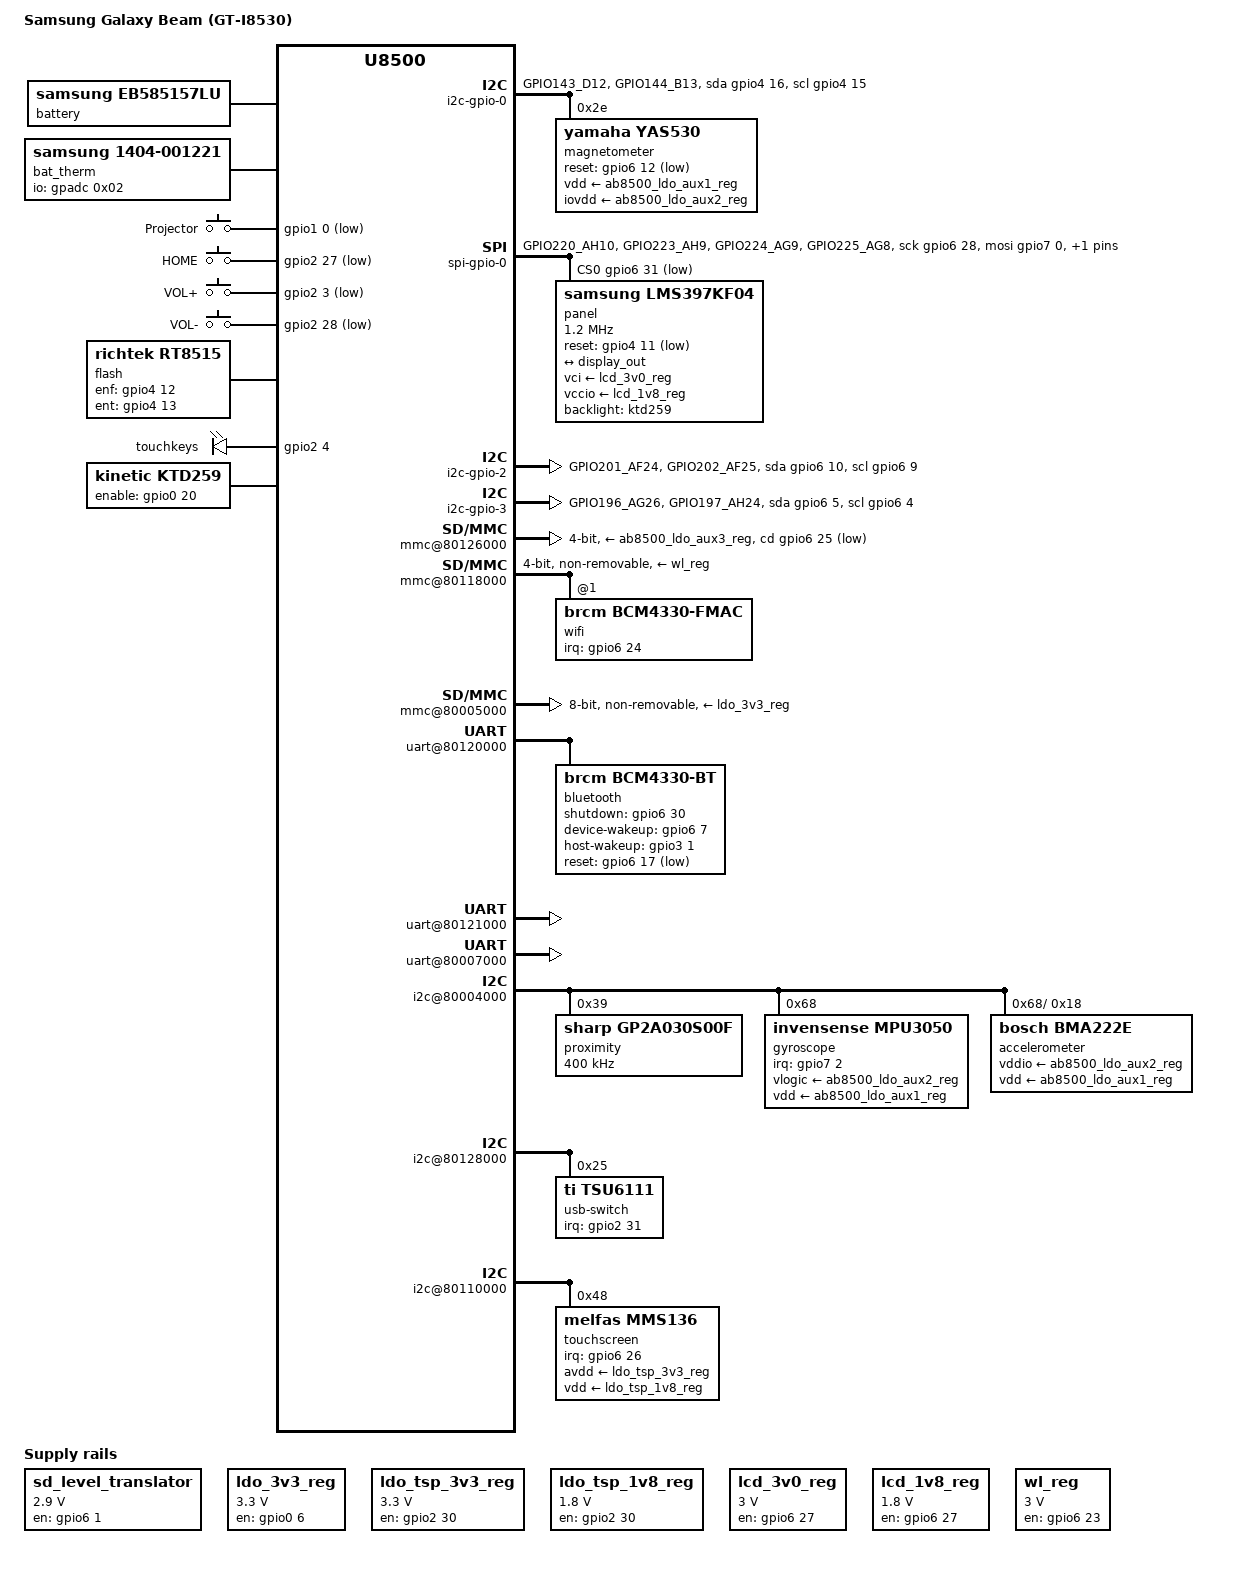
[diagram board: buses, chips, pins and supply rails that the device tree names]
// SPDX-License-Identifier: GPL-2.0-only
/*
 * Devicetree for the Samsung Galaxy Beam GT-I8530 also known as Gavini.
 */

/dts-v1/;
#include "ste-db8500.dtsi"
#include "ste-ab8500.dtsi"
#include "ste-dbx5x0-pinctrl.dtsi"
#include <dt-bindings/gpio/gpio.h>
#include <dt-bindings/leds/common.h>
#include <dt-bindings/input/input.h>
#include <dt-bindings/interrupt-controller/irq.h>

/ {
	model = "Samsung Galaxy Beam (GT-I8530)";
	compatible = "samsung,gavini", "st-ericsson,u8500";

	chosen {
		stdout-path = &serial2;
	};

	battery: battery {
		compatible = "samsung,eb585157lu";
	};

	thermal-zones {
		battery-thermal {
			/* This zone will be polled by the battery temperature code */
			polling-delay = <0>;
			polling-delay-passive = <0>;
			thermal-sensors = <&bat_therm>;
		};
	};

	bat_therm: thermistor {
		compatible = "samsung,1404-001221";
		io-channels = <&gpadc 0x02>; /* BatTemp */
		pullup-uv = <1800000>;
		pullup-ohm = <230000>;
		pulldown-ohm = <0>;
		#thermal-sensor-cells = <0>;
	};

	/* TI TXS0206 level translator for 2.9 V */
	sd_level_translator: regulator-gpio {
		compatible = "regulator-fixed";

		/* GPIO193 EN */
		gpios = <&gpio6 1 GPIO_ACTIVE_HIGH>;
		enable-active-high;

		regulator-name = "sd-level-translator";
		regulator-min-microvolt = <2900000>;
		regulator-max-microvolt = <2900000>;
		regulator-type = "voltage";

		startup-delay-us = <200>;

		pinctrl-names = "default";
		pinctrl-0 = <&sd_level_translator_default>;
	};

	/* External LDO for eMMC LDO VMEM_3V3 controlled by GPIO6 */
	ldo_3v3_reg: regulator-gpio-ldo-3v3 {
		compatible = "regulator-fixed";
		/* Supplied in turn by VBAT */
		regulator-name = "VMEM_3V3";
		regulator-min-microvolt = <3300000>;
		regulator-max-microvolt = <3300000>;
		gpio = <&gpio0 6 GPIO_ACTIVE_HIGH>;
		startup-delay-us = <5000>; // FIXME
		enable-active-high;
		pinctrl-names = "default";
		pinctrl-0 = <&emmc_ldo_en_default_mode>;
	};

	/*
	 * External Ricoh "TSP" regulator for the touchscreen.
	 * One GPIO line controls two voltages of 3.3V and 1.8V
	 * this line is known as "TSP_LDO_ON1" in the schematics.
	 */
	ldo_tsp_3v3_reg: regulator-gpio-tsp-ldo-3v3 {
		compatible = "regulator-fixed";
		/* Supplied in turn by VBAT */
		regulator-name = "LDO_TSP_A3V3";
		regulator-min-microvolt = <3300000>;
		regulator-max-microvolt = <3300000>;
		/* GPIO94 controls this regulator */
		gpio = <&gpio2 30 GPIO_ACTIVE_HIGH>;
		/* 70 ms power-on delay */
		startup-delay-us = <70000>;
		enable-active-high;
		pinctrl-names = "default";
		pinctrl-0 = <&tsp_ldo_en_default_mode>;
	};
	ldo_tsp_1v8_reg: regulator-gpio-tsp-ldo-1v8 {
		compatible = "regulator-fixed";
		/* Supplied in turn by VBAT */
		regulator-name = "VREG_TSP_1V8";
		regulator-min-microvolt = <1800000>;
		regulator-max-microvolt = <1800000>;
		/* GPIO94 controls this regulator */
		gpio = <&gpio2 30 GPIO_ACTIVE_HIGH>;
		/* 70 ms power-on delay */
		startup-delay-us = <70000>;
		enable-active-high;
		pinctrl-names = "default";
		pinctrl-0 = <&tsp_ldo_en_default_mode>;
	};

	/*
	 * External Ricoh RP152L010B-TR LCD LDO regulator for the display.
	 * LCD_PWR_EN controls both a 3.0V and 1.8V output.
	 */
	lcd_3v0_reg: regulator-gpio-lcd-3v0 {
		compatible = "regulator-fixed";
		/* Supplied in turn by VBAT */
		regulator-name = "VREG_LCD_3V0";
		regulator-min-microvolt = <3000000>;
		regulator-max-microvolt = <3000000>;
		/* GPIO219 controls this regulator */
		gpio = <&gpio6 27 GPIO_ACTIVE_HIGH>;
		enable-active-high;
		pinctrl-names = "default";
		pinctrl-0 = <&lcd_pwr_en_default_mode>;
	};
	lcd_1v8_reg: regulator-gpio-lcd-1v8 {
		compatible = "regulator-fixed";
		/* Supplied in turn by VBAT */
		regulator-name = "VREG_LCD_1V8";
		regulator-min-microvolt = <1800000>;
		regulator-max-microvolt = <1800000>;
		/* GPIO219 controls this regulator too */
		gpio = <&gpio6 27 GPIO_ACTIVE_HIGH>;
		enable-active-high;
		pinctrl-names = "default";
		pinctrl-0 = <&lcd_pwr_en_default_mode>;
	};

	/*
	 * This regulator is a GPIO line that drives the Broadcom WLAN
	 * line WL_REG_ON high and enables the internal regulators
	 * inside the chip. Unfortunatley it is erroneously named
	 * WLAN_RST_N on the schematic but it is not a reset line.
	 *
	 * The voltage specified here is only used to determine the OCR mask,
	 * the for the SDIO connector, the chip is actually connected
	 * directly to VBAT.
	 */
	wl_reg: regulator-gpio-wlan {
		compatible = "regulator-fixed";
		regulator-name = "WL_REG_ON";
		regulator-min-microvolt = <3000000>;
		regulator-max-microvolt = <3000000>;
		startup-delay-us = <100000>;
		/* GPIO215 (WLAN_RST_N to WL_REG_ON) */
		gpio = <&gpio6 23 GPIO_ACTIVE_HIGH>;
		enable-active-high;
		pinctrl-names = "default";
		pinctrl-0 = <&wlan_ldo_en_default>;
	};

	gpio-keys {
		compatible = "gpio-keys";
		pinctrl-names = "default";
		pinctrl-0 = <&gpio_keys_default_mode>;

		button-projector {
			linux,code = <KEY_SWITCHVIDEOMODE>;
			label = "Projector";
			/* GPIO32 "Projector On HotKey" */
			gpios = <&gpio1 0 GPIO_ACTIVE_LOW>;
		};
		button-home {
			linux,code = <KEY_HOME>;
			label = "HOME";
			/* GPIO91 */
			gpios = <&gpio2 27 GPIO_ACTIVE_LOW>;
		};
		button-volup {
			linux,code = <KEY_VOLUMEUP>;
			label = "VOL+";
			/* GPIO67 */
			gpios = <&gpio2 3 GPIO_ACTIVE_LOW>;
		};
		button-voldown {
			linux,code = <KEY_VOLUMEDOWN>;
			label = "VOL-";
			/* GPIO92 */
			gpios = <&gpio2 28 GPIO_ACTIVE_LOW>;
		};
	};

	/* Richtek RT8515GQW Flash LED Driver IC */
	flash {
		compatible = "richtek,rt8515";
		/* GPIO 140 */
		enf-gpios = <&gpio4 12 GPIO_ACTIVE_HIGH>;
		/* GPIO 141 */
		ent-gpios = <&gpio4 13 GPIO_ACTIVE_HIGH>;
		/*
		 * RFS is 16 kOhm and RTS is 100 kOhm giving
		 * the flash max current 343mA and torch max
		 * current 55 mA.
		 */
		richtek,rfs-ohms = <16000>;
		richtek,rts-ohms = <100000>;
		pinctrl-names = "default";
		pinctrl-0 = <&gpio_flash_default_mode>;

		led {
			function = LED_FUNCTION_FLASH;
			color = <LED_COLOR_ID_WHITE>;
			flash-max-timeout-us = <250000>;
			flash-max-microamp = <343750>;
			led-max-microamp = <55000>;
		};
	};

	gpio-leds {
		compatible = "gpio-leds";
		pinctrl-names = "default";
		pinctrl-0 = <&gpio_leds_default_mode>;
		used-led {
			label = "touchkeys";
			/* GPIO68 */
			gpios = <&gpio2 4 GPIO_ACTIVE_HIGH>;
			default-state = "on";
		};
	};

	ktd259: backlight {
		compatible = "kinetic,ktd259";
		/* GPIO20 */
		enable-gpios = <&gpio0 20 GPIO_ACTIVE_HIGH>;
		/* Default to 13/32 brightness */
		default-brightness = <13>;
		pinctrl-names = "default";
		pinctrl-0 = <&ktd259_backlight_default_mode>;
	};

	/* Bit-banged I2C on GPIO143 and GPIO144 also called "SUBPMU I2C" */
	i2c-gpio-0 {
		compatible = "i2c-gpio";
		sda-gpios = <&gpio4 16 (GPIO_ACTIVE_HIGH|GPIO_OPEN_DRAIN)>;
		scl-gpios = <&gpio4 15 (GPIO_ACTIVE_HIGH|GPIO_OPEN_DRAIN)>;
		pinctrl-names = "default";
		pinctrl-0 = <&i2c_gpio_0_default>;
		#address-cells = <1>;
		#size-cells = <0>;

		/* Yamaha YAS530 magnetometer */
		magnetometer@2e {
			compatible = "yamaha,yas530";
			reg = <0x2e>;
			/* VDD 3V */
			vdd-supply = <&ab8500_ldo_aux1_reg>;
			/* IOVDD 1.8V */
			iovdd-supply = <&ab8500_ldo_aux2_reg>;
			/* GPIO204 COMPASS_RST_N */
			reset-gpios = <&gpio6 12 GPIO_ACTIVE_LOW>;
			pinctrl-names = "default";
			pinctrl-0 = <&yas530_default>;
		};
		/* TODO: this should also be used by the NCP6914 Camera power management unit */
	};

	/*
	 * TODO: See if we can use the PL023 for this instead.
	 */
	spi-gpio-0 {
		compatible = "spi-gpio";
		/* Clock on GPIO220, pin SCL */
		sck-gpios = <&gpio6 28 GPIO_ACTIVE_HIGH>;
		/* MOSI on GPIO224, pin SDI "slave data in" */
		mosi-gpios = <&gpio7 0 GPIO_ACTIVE_HIGH>;
		/* MISO on GPIO225, pin SDO "slave data out" */
		miso-gpios = <&gpio7 1 GPIO_ACTIVE_HIGH>;
		/* Chip select on GPIO223 */
		cs-gpios = <&gpio6 31 GPIO_ACTIVE_LOW>;
		num-chipselects = <1>;

		pinctrl-names = "default";
		pinctrl-0 = <&spi_gpio_0_default>;
		#address-cells = <1>;
		#size-cells = <0>;

		panel@0 {
			compatible = "samsung,lms397kf04";
			/* 300 ns at read cycle -> 3 MHz max speed */
			//spi-max-frequency = <3000000>;
			spi-max-frequency = <1200000>;
			/* TYPE 3: inverse clock polarity and phase */
			spi-cpha;
			spi-cpol;

			reg = <0>;
			vci-supply = <&lcd_3v0_reg>;
			vccio-supply = <&lcd_1v8_reg>;
			/* Reset on GPIO139 */
			reset-gpios = <&gpio4 11 GPIO_ACTIVE_LOW>;
			pinctrl-names = "default";
			pinctrl-0 = <&panel_default_mode>;
			backlight = <&ktd259>;

			port {
				panel_in: endpoint {
					remote-endpoint = <&display_out>;
				};
			};
		};
	};

	/* Bit-banged I2C on GPIO201 and GPIO202 also called "MOT_I2C" */
	i2c-gpio-2 {
		compatible = "i2c-gpio";
		sda-gpios = <&gpio6 10 (GPIO_ACTIVE_HIGH|GPIO_OPEN_DRAIN)>;
		scl-gpios = <&gpio6 9 (GPIO_ACTIVE_HIGH|GPIO_OPEN_DRAIN)>;
		pinctrl-names = "default";
		pinctrl-0 = <&i2c_gpio_2_default>;
		#address-cells = <1>;
		#size-cells = <0>;
		/* TODO: add the Immersion ISA1200 I2C device here */
	};

	/* Bit-banged I2C on GPIO196 and GPIO197 also called "MPR_I2C" */
	i2c-gpio-3 {
		compatible = "i2c-gpio";
		sda-gpios = <&gpio6 5 (GPIO_ACTIVE_HIGH|GPIO_OPEN_DRAIN)>;
		scl-gpios = <&gpio6 4 (GPIO_ACTIVE_HIGH|GPIO_OPEN_DRAIN)>;
		pinctrl-names = "default";
		pinctrl-0 = <&i2c_gpio_3_default>;
		#address-cells = <1>;
		#size-cells = <0>;
		/* TODO: add the DPP2601 projector I2C device 0x1b here */
	};

	soc {
		/* External Micro SD slot */
		mmc@80126000 {
			arm,primecell-periphid = <0x10480180>;
			max-frequency = <50000000>;
			bus-width = <4>;
			cap-sd-highspeed;
			cap-mmc-highspeed;
			st,sig-pin-fbclk;
			full-pwr-cycle;
			/* MMC is powered by AUX3 1.2V .. 2.91V */
			vmmc-supply = <&ab8500_ldo_aux3_reg>;
			/* 2.9 V level translator */
			vqmmc-supply = <&sd_level_translator>;
			pinctrl-names = "default", "sleep";
			pinctrl-0 = <&mc0_a_2_default>;
			pinctrl-1 = <&mc0_a_2_sleep>;
			/* "flash detect" actually card detect */
			cd-gpios  = <&gpio6 25 GPIO_ACTIVE_LOW>;
			status = "okay";
		};

		/* WLAN SDIO channel */
		mmc@80118000 {
			arm,primecell-periphid = <0x10480180>;
			max-frequency = <50000000>;
			bus-width = <4>;
			non-removable;
			cap-sd-highspeed;
			pinctrl-names = "default", "sleep";
			pinctrl-0 = <&mc1_a_2_default>;
			pinctrl-1 = <&mc1_a_2_sleep>;
			/*
			 * GPIO-controlled voltage enablement: this drives
			 * the WL_REG_ON line high when we use this device.
			 * Represented as regulator to fill OCR mask.
			 */
			vmmc-supply = <&wl_reg>;

			#address-cells = <1>;
			#size-cells = <0>;
			status = "okay";

			wifi@1 {
				compatible = "brcm,bcm4330-fmac", "brcm,bcm4329-fmac";
				reg = <1>;
				/* GPIO216 WL_HOST_WAKE */
				interrupt-parent = <&gpio6>;
				interrupts = <24 IRQ_TYPE_EDGE_FALLING>;
				interrupt-names = "host-wake";
				pinctrl-names = "default";
				pinctrl-0 = <&wlan_default_mode>;
			};
		};

		/* eMMC */
		mmc@80005000 {
			arm,primecell-periphid = <0x10480180>;
		        max-frequency = <50000000>;
			bus-width = <8>;
			non-removable;
			cap-mmc-highspeed;
			mmc-ddr-1_8v;
			no-sdio;
			no-sd;
			vmmc-supply = <&ldo_3v3_reg>;
			pinctrl-names = "default", "sleep";
			pinctrl-0 = <&mc2_a_1_default>;
			pinctrl-1 = <&mc2_a_1_sleep>;
			status = "okay";
		};

		/* GBF (Bluetooth) UART */
		uart@80120000 {
			pinctrl-names = "default", "sleep";
			pinctrl-0 = <&u0_a_1_default>;
			pinctrl-1 = <&u0_a_1_sleep>;
			status = "okay";

			bluetooth {
				compatible = "brcm,bcm4330-bt";
				/* GPIO222 rail BT_VREG_EN to BT_REG_ON */
				shutdown-gpios = <&gpio6 30 GPIO_ACTIVE_HIGH>;
				/* BT_WAKE on GPIO199 */
				device-wakeup-gpios = <&gpio6 7 GPIO_ACTIVE_HIGH>;
				/* BT_HOST_WAKE on GPIO97 */
				host-wakeup-gpios = <&gpio3 1 GPIO_ACTIVE_HIGH>;
				/* BT_RST_N on GPIO209 */
				reset-gpios = <&gpio6 17 GPIO_ACTIVE_LOW>;
				pinctrl-names = "default";
				pinctrl-0 = <&bluetooth_default_mode>;
			};
		};

		/* GPS UART */
		uart@80121000 {
			status = "okay";
			pinctrl-names = "default", "sleep";
			/* CTS/RTS is not used, CTS is repurposed as GPIO */
			pinctrl-0 = <&u1rxtx_a_1_default>;
			pinctrl-1 = <&u1rxtx_a_1_sleep>;
			/* FIXME: add a device for the GPS here */
		};

		/* Debugging console UART connected to TSU6111RSVR (FSA880) */
		uart@80007000 {
			status = "okay";
			pinctrl-names = "default", "sleep";
			pinctrl-0 = <&u2rxtx_c_1_default>;
			pinctrl-1 = <&u2rxtx_c_1_sleep>;
		};

		prcmu@80157000 {
			ab8500 {
				phy {
					pinctrl-names = "default", "sleep";
					pinctrl-0 = <&usb_a_1_default>;
					pinctrl-1 = <&usb_a_1_sleep>;
				};

				ab8500_fg {
					line-impedance-micro-ohms = <43000>;
				};

				regulator {
					ab8500_ldo_aux1 {
						/* Used for VDD for sensors */
						regulator-name = "V-SENSORS-VDD";
						regulator-min-microvolt = <3000000>;
						regulator-max-microvolt = <3000000>;
					};

					ab8500_ldo_aux2 {
						/* Used for VIO for sensors */
						regulator-name = "V-SENSORS-VIO";
						regulator-min-microvolt = <1800000>;
						regulator-max-microvolt = <1800000>;
					};

					ab8500_ldo_aux3 {
						/* Used for voltage for external MMC/SD card */
						regulator-name = "V-MMC-SD";
						regulator-min-microvolt = <1200000>;
						regulator-max-microvolt = <2910000>;
					};
				};
			};
		};

		/* I2C0 */
		i2c@80004000 {
			status = "okay";
			pinctrl-names = "default", "sleep";
			pinctrl-0 = <&i2c0_a_1_default>;
			pinctrl-1 = <&i2c0_a_1_sleep>;

			/* FIXME: fix the proximity sensor bindings and driver */
			proximity@39 {
				/* Gavini has the GP2A030S00F proximity sensor */
				compatible = "sharp,gp2a030s00f";
				clock-frequency = <400000>;
				reg = <0x39>;
				/* FIXME: GPIO146 provides power on, IR LED? */
			};

			gyroscope@68 {
				compatible = "invensense,mpu3050";
				reg = <0x68>;
				/* GPIO226 interrupt */
				interrupt-parent = <&gpio7>;
				interrupts = <2 IRQ_TYPE_EDGE_FALLING>;
				mount-matrix = "0", "1", "0",
					       "1", "0", "0",
					       "0", "0", "1";
				vlogic-supply = <&ab8500_ldo_aux2_reg>; // 1.8V
				vdd-supply = <&ab8500_ldo_aux1_reg>; // 3V
				pinctrl-names = "default";
				pinctrl-0 = <&mpu3050_default>;

				/*
				 * The MPU-3050 acts as a hub for the
				 * accelerometer.
				 */
				i2c-gate {
					#address-cells = <1>;
					#size-cells = <0>;

					/* Bosch BMA222E accelerometer */
					accelerometer@18 {
						compatible = "bosch,bma222e";
						reg = <0x18>;
						mount-matrix = "0", "1", "0",
							       "-1", "0", "0",
							       "0", "0", "1";
						vddio-supply = <&ab8500_ldo_aux2_reg>; // 1.8V
						vdd-supply = <&ab8500_ldo_aux1_reg>; // 3V
					};
				};
			};
		};

		/* I2C2 "AGC I2C" */
		i2c@80128000 {
			status = "okay";
			pinctrl-names = "default", "sleep";
			pinctrl-0 = <&i2c2_b_1_default>;
			pinctrl-1 = <&i2c2_b_1_sleep>;

			/* Texas Instruments TSU6111 micro USB switch */
			usb-switch@25 {
				compatible = "ti,tsu6111";
				reg = <0x25>;
				/* Interrupt JACK_INT_N on GPIO95 */
				interrupt-parent = <&gpio2>;
				interrupts = <31 IRQ_TYPE_EDGE_FALLING>;
				pinctrl-names = "default";
				pinctrl-0 = <&tsu6111_default>;
			};
		};

		/* I2C3 */
		i2c@80110000 {
			status = "okay";

			pinctrl-names = "default", "sleep";
			pinctrl-0 = <&i2c3_c_2_default>;
			pinctrl-1 = <&i2c3_c_2_sleep>;

			/* Melfas MMS136 touchscreen */
			touchscreen@48 {
				compatible = "melfas,mms136";
				reg = <0x48>;
				/* GPIO218 (TSP_INT_1V8) */
				interrupt-parent = <&gpio6>;
				interrupts = <26 IRQ_TYPE_EDGE_FALLING>;
				/* AVDD is "analog supply", 2.57-3.47 V */
				avdd-supply = <&ldo_tsp_3v3_reg>;
				/* VDD is "digital supply" 1.71-3.47V */
				vdd-supply = <&ldo_tsp_1v8_reg>;
				pinctrl-names = "default";
				pinctrl-0 = <&tsp_default>;
				touchscreen-size-x = <480>;
				touchscreen-size-y = <800>;
			};
		};

		mcde@a0350000 {
			status = "okay";
			pinctrl-names = "default";
			pinctrl-0 = <&dpi_default_mode>;

			port {
				display_out: endpoint {
					remote-endpoint = <&panel_in>;
				};
			};
		};
	};
};

&pinctrl {
	/*
	 * This extends the MC0_A_2 default config to include
	 * the card detect GPIO217 line.
	 */
	sdi0 {
		mc0_a_2_default {
			default_cfg4 {
				pins = "GPIO217_AH12"; /* card detect */
				ste,config = <&gpio_in_nopull>;
			};
		};
	};
	mcde {
		dpi_default_mode: dpi_default {
			default_mux1 {
				/* Mux in all the data lines */
				function = "lcd";
				groups =
					/* Data lines D0-D7 GPIO70..GPIO77 */
					"lcd_d0_d7_a_1",
					/* Data lines D8-D11 GPIO78..GPIO81 */
					"lcd_d8_d11_a_1",
					/* Data lines D12-D15 GPIO82..GPIO85 */
					"lcd_d12_d15_a_1",
					/* Data lines D16-D23 GPIO161..GPIO168 */
					"lcd_d16_d23_b_1";
			};
			default_mux2 {
				function = "lcda";
				/* Clock line on GPIO150, DE, VSO, HSO on GPIO169..GPIO171 */
				groups = "lcdaclk_b_1", "lcda_b_1";
			};
			/* Input, no pull-up is the default state for pins used for an alt function */
			default_cfg1 {
				pins = "GPIO150_C14", "GPIO169_D22", "GPIO170_C23", "GPIO171_D23";
				ste,config = <&in_nopull>;
			};
		};
	};
	/* GPIO for panel reset control */
	panel {
		panel_default_mode: panel_default {
			gavini_cfg1 {
				/* Reset line */
				pins = "GPIO139_C9";
				ste,config = <&gpio_out_lo>;
			};
		};
	};
	/* GPIO that enables the LDO regulator for the eMMC */
	emmc-ldo {
		emmc_ldo_en_default_mode: emmc_ldo_default {
			/* LDO enable on GPIO6 */
			gavini_cfg1 {
				pins = "GPIO6_AF6";
				ste,config = <&gpio_out_hi>;
			};
		};
	};
	/* GPIO that enables the LDO regulator for the touchscreen */
	tsp-ldo {
		tsp_ldo_en_default_mode: tsp_ldo_default {
			/* LDO enable on GPIO94 */
			gavini_cfg1 {
				pins = "GPIO94_D7";
				ste,config = <&gpio_out_hi>;
			};
		};
	};
	/* Reset line for the Yamaha YAS530 magnetometer */
	yas530 {
		yas530_default: yas530_janice {
			janice_cfg1 {
				pins = "GPIO204_AF23";
				ste,config = <&gpio_out_hi>;
			};
		};
	};
	/* Flash and torch */
	flash {
		gpio_flash_default_mode: flash_default {
			janice_cfg1 {
				pins = "GPIO140_B11", "GPIO141_C12";
				ste,config = <&gpio_out_lo>;
			};
		};
	};
	/* GPIO that enables the LDO regulator for the key LED */
	gpio-leds {
		gpio_leds_default_mode: gpio_leds_default {
			/* EN_LED_LDO on GPIO68 */
			gavini_cfg1 {
				pins = "GPIO68_E1";
				ste,config = <&gpio_out_hi>;
			};
		};
	};
	backlight {
		ktd259_backlight_default_mode: backlight_default {
			skomer_cfg1 {
				pins = "GPIO20_AB4"; /* LCD_BL_EN */
				ste,config = <&gpio_out_lo>;
			};
		};
	};
	/* GPIO that enables the LDO regulator for the touchkeys */
	touchkey-ldo {
		tsp_ldo_on2_default_mode: tsp_ldo_on2_default {
			/* TSP_LDO_ON2 on GPIO89 */
			gavini_cfg1 {
				pins = "GPIO89_E6";
				ste,config = <&gpio_out_lo>;
			};
		};
	};
	touchkey {
		touchkey_default_mode: touchkey_default {
			gavini_cfg1 {
				/* Interrupt */
				pins = "GPIO198_AG25";
				ste,config = <&gpio_in_nopull>;
			};
			gavini_cfg2 {
				/* Reset, actually completely unused (not routed) */
				pins = "GPIO205_AG23";
				ste,config = <&gpio_in_pd>;
			};
		};
	};
	/* GPIO that enables the LDO regulator for the LCD display */
	lcd-ldo {
		lcd_pwr_en_default_mode: lcd_pwr_en_default {
			/* LCD_PWR_EN on GPIO219 */
			gavini_cfg1 {
				pins = "GPIO219_AG10";
				ste,config = <&gpio_out_hi>;
			};
		};
	};
	/* GPIO that enables the WLAN internal LDO regulators */
	wlan-ldo {
		wlan_ldo_en_default: wlan_ldo_default {
			/* GPIO215 named WLAN_RST_N */
			gavini_cfg1 {
				pins = "GPIO215_AH13";
				ste,config = <&gpio_out_lo>;
			};
		};
	};
	/* GPIO that enables the 2.9V SD card level translator */
	sd-level-translator {
		sd_level_translator_default: sd_level_translator_default {
			/* level shifter on GPIO193 */
			skomer_cfg1 {
				pins = "GPIO193_AH27";
				ste,config = <&gpio_out_hi>;
			};
		};
	};
	/* GPIO keys */
	gpio-keys {
		gpio_keys_default_mode: gpio_keys_default {
			skomer_cfg1 {
				pins = "GPIO32_V2", /* Projector On HotKey */
				       "GPIO67_G2", /* VOL UP */
				       "GPIO91_B6", /* HOME */
				       "GPIO92_D6"; /* VOL DOWN */
				ste,config = <&gpio_in_pu>;
			};
		};
	};
	/* Interrupt line for the Atmel MXT228 touchscreen */
	tsp {
		tsp_default: tsp_default {
			gavini_cfg1 {
				pins = "GPIO218_AH11";	/* TSP_INT_1V8 */
				ste,config = <&gpio_in_nopull>;
			};
		};
	};
	/* Interrupt line for Invensense MPU3050 gyroscope */
	mpu3050 {
		mpu3050_default: mpu3050 {
			gavini_cfg1 {
				/* GPIO226 used for IRQ */
				pins = "GPIO226_AF8";
				ste,config = <&gpio_in_nopull>;
			};
		};
	};
	/* GPIO-based I2C bus for magnetometer and NCP6914 */
	i2c-gpio-0 {
		i2c_gpio_0_default: i2c_gpio_0 {
			gavini_cfg1 {
				pins = "GPIO143_D12", "GPIO144_B13";
				ste,config = <&gpio_in_nopull>;
			};
		};
	};
	/* GPIO-based I2C bus for the Immersion ISA1200 */
	i2c-gpio-2 {
		i2c_gpio_2_default: i2c_gpio_2 {
			gavini_cfg1 {
				pins = "GPIO201_AF24", "GPIO202_AF25";
				ste,config = <&gpio_in_nopull>;
			};
		};
	};
	/* GPIO-based I2C bus for the TI DPP2601 */
	i2c-gpio-3 {
		i2c_gpio_3_default: i2c_gpio_3 {
			gavini_cfg1 {
				pins = "GPIO196_AG26", "GPIO197_AH24";
				ste,config = <&gpio_in_nopull>;
			};
		};
	};
	/* GPIO-based SPI bus for the display */
	spi-gpio-0 {
		spi_gpio_0_default: spi_gpio_0_d {
			gavini_cfg1 {
				pins = "GPIO220_AH10", "GPIO223_AH9", "GPIO224_AG9";
				ste,config = <&gpio_out_hi>;
			};
			gavini_cfg2 {
				pins = "GPIO225_AG8";
				ste,config = <&gpio_in_nopull>;
			};
		};
		spi_gpio_0_sleep: spi_gpio_0_s {
			gavini_cfg1 {
				pins = "GPIO220_AH10", "GPIO223_AH9",
				     "GPIO224_AG9", "GPIO225_AG8";
				ste,config = <&gpio_out_hi>;
			};
			gavini_cfg2 {
				pins = "GPIO225_AG8";
				ste,config = <&gpio_out_lo>;
			};
		};
	};
	wlan {
		wlan_default_mode: wlan_default {
			/* GPIO216 for WL_HOST_WAKE */
			gavini_cfg2 {
				pins = "GPIO216_AG12";
				ste,config = <&gpio_in_pd>;
			};
		};
	};
	bluetooth {
		bluetooth_default_mode: bluetooth_default {
			/* GPIO199 BT_WAKE and GPIO222 BT_VREG_ON */
			gavini_cfg1 {
				pins = "GPIO199_AH23", "GPIO222_AJ9";
				ste,config = <&gpio_out_lo>;
			};
			/* GPIO97 BT_HOST_WAKE */
			gavini_cfg2 {
				pins = "GPIO97_D9";
				ste,config = <&gpio_in_nopull>;
			};
			/* GPIO209 BT_RST_N */
			gavini_cfg3 {
				pins = "GPIO209_AG15";
				ste,config = <&gpio_out_hi>;
			};
		};
	};
	/* Interrupt line for TI TSU6111 Micro USB switch */
	tsu6111 {
		tsu6111_default: tsu6111 {
			gavini_cfg1 {
				/* GPIO95 used for IRQ */
				pins = "GPIO95_E8";
				ste,config = <&gpio_in_nopull>;
			};
		};
	};
};
